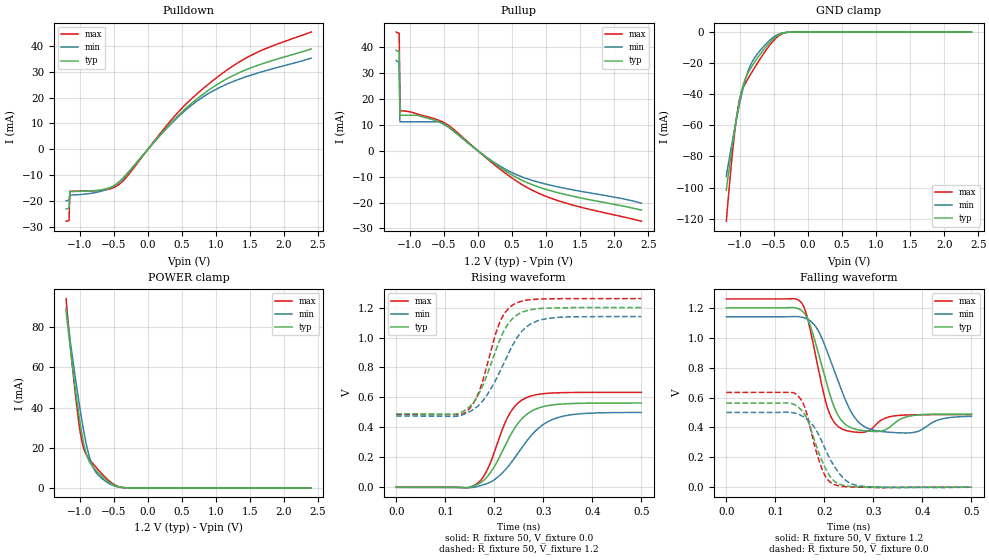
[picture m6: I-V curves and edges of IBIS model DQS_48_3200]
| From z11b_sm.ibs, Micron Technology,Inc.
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| MODEL DQS_48_3200 (48 Ohm Data Strobe I/O with no ODT, 1600-3200Mbps)
[Model]   DQS_48_3200
Model_type   I/O
Vinl = 905.000mV
Vinh = 1015.000mV
Vmeas = 960.000mV
Vref = 1200.000mV
Cref = 0.0pF
Rref = 50.000Ohm
|   typ   min   max
|C_comp   0.780pF   0.730pF   0.830pF
C_comp_pullup   0.390pF   0.365pF   0.415pF
C_comp_pulldown   0.390pF   0.365pF   0.415pF
[Model Spec]
| Timing spec test load voltage corners
Vref   1.2000V   1.1400V   1.2600V
| Dynamic Overshoot Parameters from DDR4 Specification
|D_overshoot_ampl_h   0.40   NA   NA
|D_overshoot_ampl_l   0.40   NA   NA
|D_overshoot_area_h   0.0800n   NA   NA
|D_overshoot_area_l   0.0800n   NA   NA
[Voltage Range]   1.2000V   1.1400V   1.2600V
| Junction Temperature (Ambient temp is 35C typ, 95C min, 0C max)
[Temperature Range]   50.0   110.0   0.0
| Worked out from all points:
|   slope of the pulldown table from 0 to 0.18 V, typ, clamps not added: 32.4 ohm
|   slope of the pullup table from 0 to 0.18 V, typ, clamps not added: 49.2 ohm
|   GND clamp passes 1 mA (typ) near -0.39 V on its own axis
|   POWER clamp passes 1 mA (typ) near -0.48 V on its own axis
|   rising waveform, R_fixture 50, V_fixture 0.0: 20-80 % time 59ps typ, 74.4ps min, 47ps max; typ from 0 V to 0.563 V
|   rising waveform, R_fixture 50, V_fixture 1.2: 20-80 % time 52.1ps typ, 64.6ps min, 42.5ps max; typ from 0.49 V to 1.2 V
|   falling waveform, R_fixture 50, V_fixture 1.2: 20-80 % time 36.5ps typ, 46.3ps min, 30ps max; typ from 1.2 V to 0.49 V
|   falling waveform, R_fixture 50, V_fixture 0.0: 20-80 % time 38.9ps typ, 48.9ps min, 31.8ps max; typ from 0.563 V to 0 V
[Pulldown]
|   Voltage   I(typ)   I(min)   I(max)
-1.2V     -22.96mA   -19.84mA   -27.69mA
-1.156V   -22.64mA   -19.51mA   -27.34mA
-1.145V   -16.23mA   -17.61mA   -16.14mA
-687.3mV  -15.58mA   -16.14mA   -15.8mA
-534.5mV  -14.49mA   -14.58mA   -15.02mA
-414.5mV  -12.56mA   -12.33mA   -13.33mA
-294.5mV  -9.334mA   -9.047mA   -10.08mA
447.3mV   13.1mA     12.58mA    14.4mA
709.1mV   19.22mA    18.37mA    21.12mA
970.9mV   24.23mA    22.74mA    26.86mA
1.538V    31.71mA    28.84mA    36.56mA
2.4V      38.71mA    35.21mA    45.25mA
[GND_clamp]
|   Voltage   I(typ)   I(min)   I(max)
-1.2V     -101.7mA   -92.86mA   -121.7mA
-1.135V   -79.96mA   -75.85mA   -88.92mA
-1.08V    -63.49mA   -62.76mA   -65.41mA
-1.036V   -51.56mA   -52.84mA   -50.65mA
-992.7mV  -41.38mA   -43.58mA   -41.02mA
-927.3mV  -30.76mA   -31.6mA    -33.57mA
-872.7mV  -25.55mA   -24.13mA   -29.29mA
-818.2mV  -21.61mA   -19.01mA   -25.29mA
-621.8mV  -9.659mA   -7.799mA   -11.96mA
-436.4mV  -1.919mA   -1.478mA   -2.611mA
-229.1mV  -17.22uA   -19.75uA   -20.83uA
2.4V      0A         0A         0A
[Pullup]
|   Voltage   I(typ)   I(min)   I(max)
-1.2V     38.81mA    34.88mA    45.89mA
-1.156V   38.35mA    34.38mA    45.4mA
-1.145V   13.74mA    11.17mA    15.45mA
-883.6mV  13.71mA    11.17mA    14.18mA
-567.3mV  11.15mA    11.09mA    11.73mA
-392.7mV  8.512mA    8.301mA    9.088mA
0V        622.1nA    592.7nA    704.9nA
338.2mV   -6.633mA   -6.114mA   -7.357mA
600mV     -10.77mA   -9.589mA   -12.25mA
883.6mV   -13.91mA   -12.08mA   -16.31mA
1.385V    -17.5mA    -15.04mA   -20.91mA
2.4V      -22.93mA   -20.24mA   -27.22mA
[Power Clamp]
|   Voltage   I(typ)   I(min)   I(max)
-1.2V     88.83mA    89.6mA     94.34mA
-1.135V   68.72mA    72.21mA    70.04mA
-1.058V   47.72mA    53.58mA    44.98mA
-1.004V   34.46mA    41.14mA    30.26mA
-960mV    25.46mA    31.98mA    21.99mA
-894.5mV  16.03mA    20.41mA    16.05mA
-807.3mV  10.5mA     10.53mA    12.15mA
-709.1mV  6.909mA    5.768mA    8.277mA
-545.5mV  2.223mA    1.735mA    2.842mA
-436.4mV  532.8uA    427.3uA    716uA
-294.5mV  16.21uA    18.64uA    20.69uA
2.4V      0A         0A         0A
[Ramp]
|   typ   min   max
dV/dt_r   337.66m/58.99p   299.94m/74.37p   380.47m/47.05p
dV/dt_f   426.03m/36.45p   399.43m/46.27p   464.60m/29.97p
R_load = 50
[Rising Waveform]
R_fixture = 50
V_fixture = 0.0
|   Time   V(typ)   V(min)   V(max)
0s        2.779uV    7.506uV    1.603uV
144ps     -2.824mV   -2.947mV   -3.387mV
165ps     18.77mV    5.112mV    25.19mV
188ps     80.28mV    28.6mV     132.4mV
231ps     335.4mV    150mV      490mV
248ps     425.7mV    226.1mV    561.2mV
268ps     491.7mV    316.4mV    601.8mV
299ps     538.1mV    417.4mV    624.9mV
337ps     556mV      472.2mV    632mV
500ps     562.8mV    499.9mV    634.1mV
[Rising Waveform]
R_fixture   = 50
V_fixture   = 1.2
V_fixture_min = 1.14
V_fixture_max = 1.26
|   Time   V(typ)   V(min)   V(max)
0s        490mV      475.8mV    485.7mV
119ps     488.8mV    473.4mV    484.2mV
145ps     525.5mV    497.6mV    511mV
170ps     633.5mV    553.2mV    647.6mV
212ps     989.1mV    776.4mV    1.108V
225ps     1.076V     866.8mV    1.18V
242ps     1.14V      975.1mV    1.226V
266ps     1.179V     1.072V     1.249V
297ps     1.195V     1.12V      1.258V
500ps     1.2V       1.14V      1.26V
[Falling Waveform]
R_fixture   = 50
V_fixture   = 1.2
V_fixture_min = 1.14
V_fixture_max = 1.26
|   Time   V(typ)   V(min)   V(max)
0s        1.2V       1.14V      1.26V
152ps     1.185V     1.139V     1.239V
171ps     1.084V     1.114V     1.056V
206ps     677.9mV    905mV      534mV
236ps     442.4mV    639.8mV    389.7mV
267ps     385.2mV    445.5mV    367.5mV
305ps     372.6mV    378.5mV    418.5mV
376ps     477.3mV    364.1mV    484.3mV
437ps     489.3mV    454.8mV    485.6mV
500ps     489.9mV    474.3mV    485.7mV
[Falling Waveform]
R_fixture = 50
V_fixture = 0.0
|   Time   V(typ)   V(min)   V(max)
0s        562.8mV    500.2mV    634.1mV
144ps     542.8mV    492.4mV    618.2mV
161ps     480.2mV    462.9mV    524.9mV
180ps     310.4mV    399mV      277.9mV
197ps     163mV      289mV      106.4mV
207ps     96.79mV    217mV      49.25mV
221ps     38.82mV    136.2mV    16.84mV
245ps     8.249mV    42.28mV    3.127mV
272ps     1.745mV    9.108mV    397.8uV
500ps     7.18uV     -266.6uV   7.488uV
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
